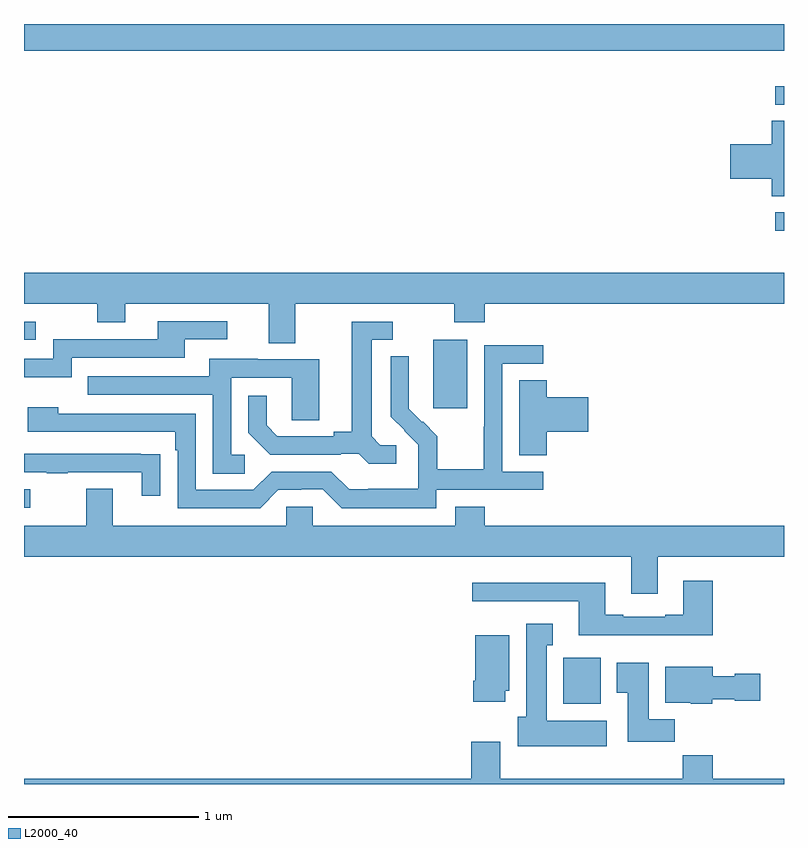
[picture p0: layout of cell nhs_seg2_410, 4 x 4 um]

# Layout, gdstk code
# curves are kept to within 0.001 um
import gdstk
lib = gdstk.Library(unit=1e-6, precision=1e-09)
def R(c, l, rs):  # rectangles x0, y0, x1, y1
    for r in rs: c.add(gdstk.rectangle(r[:2], r[2:], *l))
def P(c, l, *ps):  # polygons
    for p in ps: c.add(gdstk.Polygon(p, *l))
L2000_40 = (2000, 40)

nhs_seg2_410 = lib.new_cell('nhs_seg2_410')
R(nhs_seg2_410, L2000_40, [(133.838,620.222,134.035,620.464), (131,621.255,131.032,621.351), (133.154,621.777,133.333,622.138), (131,622.137,131.062,622.233), (134.955,622.711,135,622.809), (134.955,623.376,135,623.472), (131,623.66,135,623.8)])
P(nhs_seg2_410, L2000_40, [(135,623.291),(134.936,623.291),(134.936,623.168),(134.718,623.168),(134.718,622.985),(134.936,622.985),(134.936,622.894),(135,622.894)],
  [(132.427,622.328),(133.264,622.328),(133.264,622.229),(133.424,622.229),(133.424,622.328),(135,622.328),(135,622.492),(131,622.492),(131,622.328),(131.386,622.328),(131.386,622.229),(131.533,622.229),(131.533,622.328),(132.287,622.328),(132.287,622.12),(132.427,622.12)],
  [(131.25,622.044),(131.845,622.044),(131.845,622.14),(132.07,622.14),(132.07,622.236),(131.705,622.236),(131.705,622.14),(131.154,622.14),(131.154,622.038),(131,622.038),(131,621.941),(131.25,621.941)],
  [(132.958,621.582),(132.876,621.582),(132.829,621.629),(132.829,622.137),(132.94,622.137),(132.94,622.233),(132.725,622.233),(132.725,621.653),(132.629,621.653),(132.629,621.63),(132.334,621.63),(132.277,621.687),(132.277,621.844),(132.18,621.844),(132.18,621.65),(132.296,621.534),(132.668,621.534),(132.668,621.537),(132.762,621.537),(132.814,621.485),(132.958,621.485)],
  [(133.17,621.348),(133.732,621.348),(133.732,621.444),(133.518,621.444),(133.518,622.011),(133.732,622.011),(133.732,622.11),(133.422,622.11),(133.422,621.68),(133.42,621.68),(133.42,621.457),(133.175,621.457),(133.175,621.631),(133.098,621.708),(133.095,621.705),(133.025,621.776),(133.026,622.052),(132.93,622.052),(132.93,621.734),(133.076,621.586),(133.076,621.489),(133.074,621.489),(133.074,621.355),(132.811,621.355),(132.811,621.351),(132.711,621.351),(132.618,621.444),(132.303,621.444),(132.207,621.348),(131.904,621.348),(131.904,621.75),(131.18,621.75),(131.18,621.784),(131.019,621.784),(131.019,621.654),(131.795,621.654),(131.795,621.557),(131.808,621.557),(131.808,621.252),(132.243,621.252),(132.339,621.348),(132.458,621.348),(132.458,621.351),(132.573,621.351),(132.673,621.251),(133.17,621.251)],
  [(132.163,621.534),(132.09,621.534),(132.09,621.939),(132.408,621.939),(132.408,621.715),(132.553,621.715),(132.553,622.035),(132.229,622.035),(132.229,622.039),(131.975,622.039),(131.975,621.945),(131.335,621.945),(131.335,621.849),(131.994,621.849),(131.994,621.433),(132.163,621.433)],
  [(133.751,621.653),(133.969,621.653),(133.969,621.836),(133.751,621.836),(133.751,621.926),(133.607,621.926),(133.607,621.529),(133.751,621.529)],
  [(131.717,621.536),(131.615,621.536),(131.615,621.537),(131,621.537),(131,621.441),(131.119,621.441),(131.119,621.436),(131.231,621.436),(131.231,621.441),(131.621,621.441),(131.621,621.318),(131.717,621.318)],
  [(134.335,620.996),(135,620.996),(135,621.16),(133.424,621.16),(133.424,621.259),(133.271,621.259),(133.271,621.16),(132.519,621.16),(132.519,621.258),(132.381,621.258),(132.381,621.16),(131.467,621.16),(131.467,621.355),(131.327,621.355),(131.327,621.16),(131,621.16),(131,620.996),(134.195,620.996),(134.195,620.802),(134.335,620.802)],
  [(134.624,620.869),(134.471,620.869),(134.471,620.692),(134.375,620.692),(134.375,620.679),(134.155,620.679),(134.155,620.692),(134.059,620.692),(134.059,620.86),(133.359,620.86),(133.359,620.763),(133.919,620.763),(133.919,620.582),(134.624,620.582)],
  [(134.068,620.134),(133.75,620.134),(133.75,620.531),(133.783,620.531),(133.783,620.644),(133.643,620.644),(133.643,620.154),(133.598,620.154),(133.598,620),(134.068,620)],
  [(133.534,620.292),(133.555,620.292),(133.555,620.584),(133.376,620.584),(133.376,620.344),(133.364,620.344),(133.364,620.232),(133.534,620.232)],
  [(134.426,620.14),(134.287,620.14),(134.287,620.437),(134.12,620.437),(134.12,620.281),(134.177,620.281),(134.177,620.022),(134.426,620.022)],
  [(134.622,620.246),(134.742,620.246),(134.742,620.239),(134.875,620.239),(134.875,620.381),(134.742,620.381),(134.742,620.368),(134.626,620.368),(134.626,620.416),(134.375,620.416),(134.375,620.228),(134.508,620.228),(134.508,620.222),(134.622,620.222)],
  [(135,619.828),(134.624,619.828),(134.624,619.952),(134.467,619.952),(134.467,619.828),(133.507,619.828),(133.507,620.023),(133.355,620.023),(133.355,619.828),(131,619.828),(131,619.8),(135,619.8)])

lib.write_gds('nhs_seg2_410.gds')
